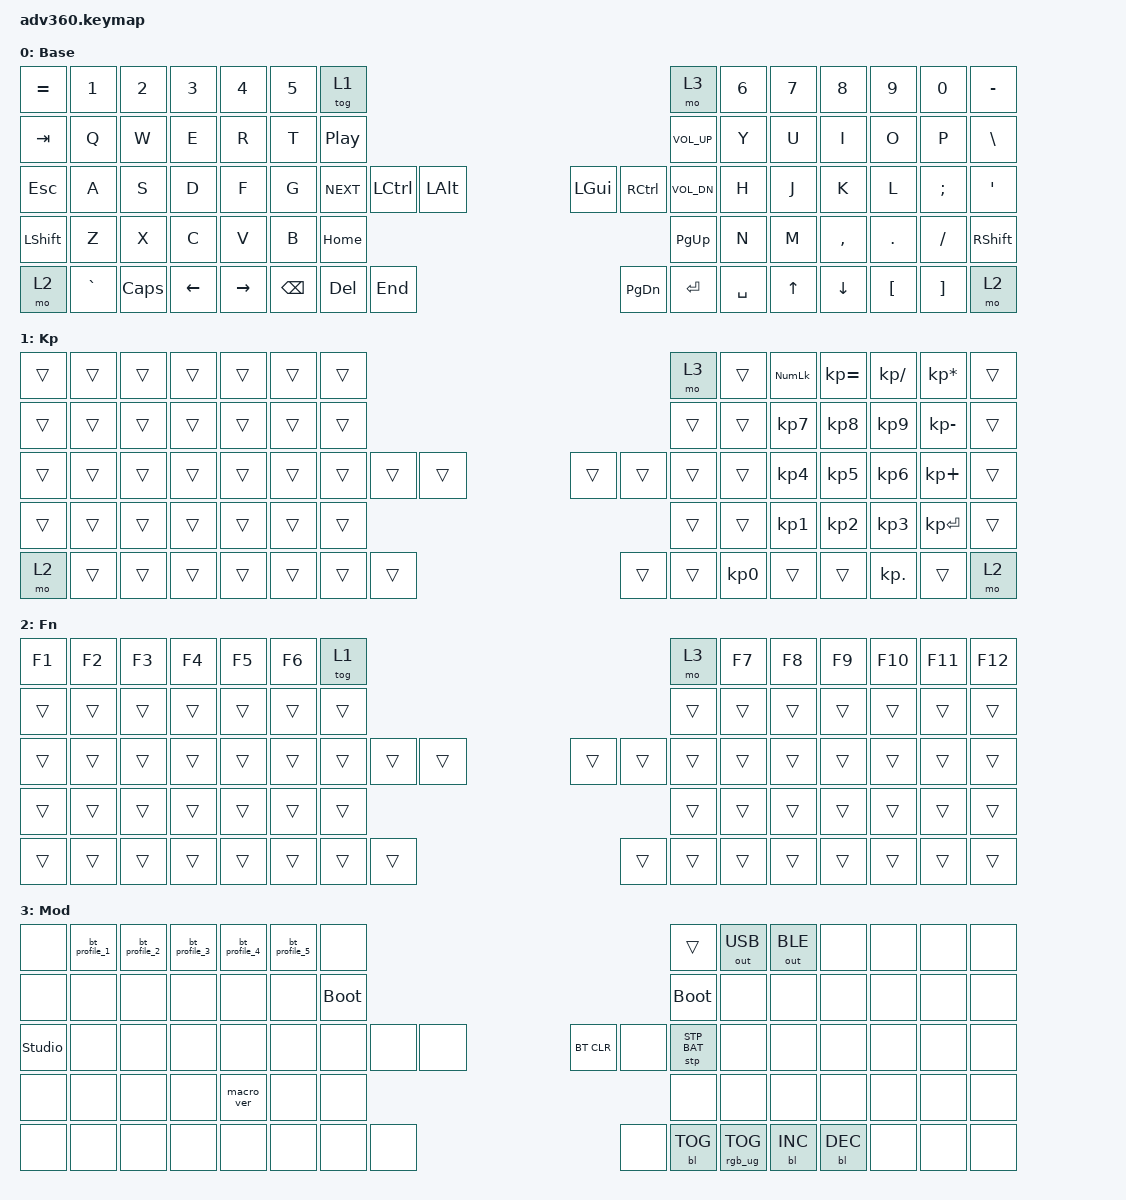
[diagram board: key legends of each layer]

/*
 * Copyright (c) 2020 The ZMK Contributors
 *
 * SPDX-License-Identifier: MIT
 */


/* THIS FILE WAS GENERATED!
 *
 * This file was generated automatically. You may or may not want to
 * edit it directly.
 */

#include <behaviors.dtsi>
#include <dt-bindings/zmk/keys.h>
#include <dt-bindings/zmk/bt.h>
#include <dt-bindings/zmk/rgb.h>
#include <dt-bindings/zmk/stp.h>
#include <dt-bindings/zmk/backlight.h>
#include <dt-bindings/zmk/outputs.h>
#include <dt-bindings/zmk/pointing.h>

/ {
    behaviors {
      #include "macros.dtsi"
      #include "version.dtsi"

      hm: homerow_mods {
          compatible = "zmk,behavior-hold-tap";
          label = "HOMEROW_MODS";
          #binding-cells = <2>;
          tapping-term-ms = <200>;
          quick_tap_ms = <175>;
          flavor = "tap-preferred";
          bindings = <&kp>, <&kp>;
      };
    };

    keymap {
        compatible = "zmk,keymap";


        default_layer {
            display-name = "Base";
            bindings = <
 &kp EQUAL     &kp N1              &kp N2    &kp N3     &kp N4  &kp N5                      &tog 1                                                                    &mo 3  &kp N6  &kp N7     &kp N8    &kp N9    &kp N0  &kp MINUS
   &kp TAB      &kp Q               &kp W     &kp E      &kp R   &kp T            &kp C_PLAY_PAUSE                                                             &kp C_VOL_UP   &kp Y   &kp U      &kp I     &kp O     &kp P   &kp BSLH
   &kp ESC      &kp A               &kp S     &kp D      &kp F   &kp G                  &kp C_NEXT  &kp LCTRL  &kp LALT                   &kp LGUI  &kp RCTRL  &kp C_VOL_DN   &kp H   &kp J      &kp K     &kp L  &kp SEMI    &kp SQT
 &kp LSHFT      &kp Z               &kp X     &kp C      &kp V   &kp B                                         &kp HOME                  &kp PG_UP                            &kp N   &kp M  &kp COMMA   &kp DOT  &kp FSLH  &kp RSHFT
     &mo 2  &kp GRAVE         &kp CAPS  &kp LEFT  &kp RIGHT                            &kp BSPC    &kp DEL   &kp END                  &kp PG_DN  &kp ENTER     &kp SPACE          &kp UP   &kp DOWN  &kp LBKT  &kp RBKT      &mo 2
            >;
        };

        layer_keypad {
            display-name = "Kp";
            bindings = <
 &trans  &trans  &trans  &trans  &trans  &trans            &trans                                                      &mo 3  &trans  &kp KP_NUM  &kp KP_EQUAL  &kp KP_DIVIDE  &kp KP_MULTIPLY  &trans
 &trans  &trans  &trans  &trans  &trans  &trans            &trans                                                     &trans  &trans   &kp KP_N7     &kp KP_N8      &kp KP_N9     &kp KP_MINUS  &trans
 &trans  &trans  &trans  &trans  &trans  &trans            &trans  &trans  &trans                  &trans  &trans     &trans  &trans   &kp KP_N4     &kp KP_N5      &kp KP_N6      &kp KP_PLUS  &trans
 &trans  &trans  &trans  &trans  &trans  &trans                            &trans                  &trans                     &trans   &kp KP_N1     &kp KP_N2      &kp KP_N3     &kp KP_ENTER  &trans
  &mo 2  &trans  &trans  &trans  &trans                    &trans  &trans  &trans                  &trans  &trans  &kp KP_N0              &trans        &trans     &kp KP_DOT           &trans   &mo 2
            >;
        };

        layer_fn {
            display-name = "Fn";
            bindings = <
 &kp F1  &kp F2  &kp F3  &kp F4  &kp F5  &kp F6            &tog 1                                                   &mo 3  &kp F7  &kp F8  &kp F9  &kp F10  &kp F11  &kp F12
 &trans  &trans  &trans  &trans  &trans  &trans            &trans                                                  &trans  &trans  &trans  &trans   &trans   &trans   &trans
 &trans  &trans  &trans  &trans  &trans  &trans            &trans  &trans  &trans                  &trans  &trans  &trans  &trans  &trans  &trans   &trans   &trans   &trans
 &trans  &trans  &trans  &trans  &trans  &trans                            &trans                  &trans                  &trans  &trans  &trans   &trans   &trans   &trans
 &trans  &trans  &trans  &trans  &trans                    &trans  &trans  &trans                  &trans  &trans  &trans          &trans  &trans   &trans   &trans   &trans
            >;
        };

        layer_mod {
            display-name = "Mod";
            bindings = <
  &none   &bt_profile_1  &bt_profile_2  &bt_profile_3  &bt_profile_4  &bt_profile_5                  &none                                                                          &trans  &out OUT_USB  &out OUT_BLE       &none   &none   &none   &none
  &none         &none         &none         &none         &none         &none            &bootloader                                                                     &bootloader   &none       &none       &none   &none   &none   &none
  &studio_unlock &none         &none         &none         &none         &none                  &none   &none   &none                  &bt BT_CLR       &none             &stp STP_BAT   &none       &none       &none   &none   &none   &none
  &none         &none         &none         &none    &macro_ver         &none                                  &none                       &none                                       &none       &none       &none   &none   &none   &none
  &none         &none         &none         &none         &none                                &none   &none   &none                       &none  &bl BL_TOG         &rgb_ug RGB_TOG          &bl BL_INC  &bl BL_DEC   &none   &none   &none
            >;
        };

        extra1 {
            display-name = "Red";
            status = "reserved";
        };

        extra2 {
            display-name = "Purple";
            status = "reserved";
        };

        extra3 {
            display-name = "Cyan";
            status = "reserved";
        };

        extra4 {
            display-name = "Yellow";
            status = "reserved";
        };

    };
};
